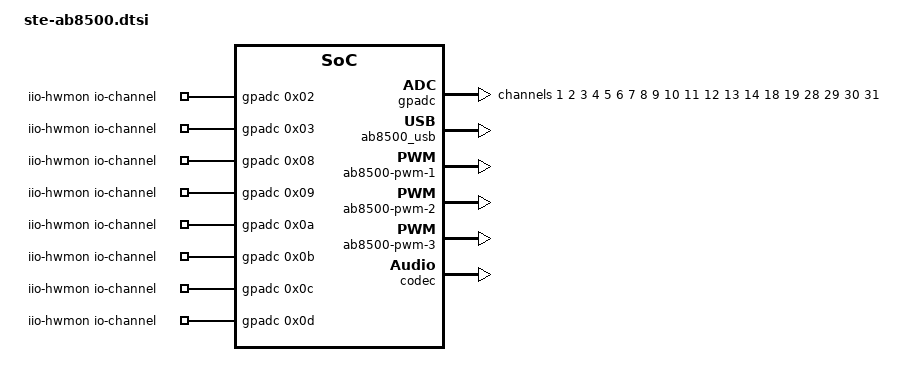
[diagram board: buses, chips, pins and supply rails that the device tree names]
// SPDX-License-Identifier: GPL-2.0-or-later
/*
 * Copyright 2012 Linaro Ltd
 */

#include <dt-bindings/clock/ste-ab8500.h>

/ {
	/* Essential housekeeping hardware monitors */
	iio-hwmon {
		compatible = "iio-hwmon";
		io-channels = <&gpadc 0x02>, /* Battery temperature */
			    <&gpadc 0x03>, /* Main charger voltage */
			    <&gpadc 0x08>, /* Main battery voltage */
			    <&gpadc 0x09>, /* VBUS */
			    <&gpadc 0x0a>, /* Main charger current */
			    <&gpadc 0x0b>, /* USB charger current */
			    <&gpadc 0x0c>, /* Backup battery voltage */
			    <&gpadc 0x0d>, /* Die temperature */
			    <&gpadc 0x12>; /* Crystal temperature */
	};

	soc {
		prcmu@80157000 {
			ab8500 {
				compatible = "stericsson,ab8500";
				interrupt-parent = <&intc>;
				interrupts = <GIC_SPI 40 IRQ_TYPE_LEVEL_HIGH>;
				interrupt-controller;
				#interrupt-cells = <2>;

				ab8500_clock: clock-controller {
					compatible = "stericsson,ab8500-clk";
					#clock-cells = <1>;
				};

				ab8500_gpio: ab8500-gpio {
					compatible = "stericsson,ab8500-gpio";
					gpio-controller;
					#gpio-cells = <2>;
				};

				ab8500-rtc {
					compatible = "stericsson,ab8500-rtc";
					interrupts = <17 IRQ_TYPE_LEVEL_HIGH
						      18 IRQ_TYPE_LEVEL_HIGH>;
					interrupt-names = "60S", "ALARM";
				};

				gpadc: ab8500-gpadc {
					compatible = "stericsson,ab8500-gpadc";
					interrupts = <32 IRQ_TYPE_LEVEL_HIGH
						      39 IRQ_TYPE_LEVEL_HIGH>;
					interrupt-names = "HW_CONV_END", "SW_CONV_END";
					vddadc-supply = <&ab8500_ldo_tvout_reg>;
					#address-cells = <1>;
					#size-cells = <0>;
					#io-channel-cells = <1>;

					/* GPADC channels */
					bat_ctrl: channel@01 {
						reg = <0x01>;
					};
					btemp_ball: channel@02 {
						reg = <0x02>;
					};
					main_charger_v: channel@03 {
						reg = <0x03>;
					};
					acc_detect1: channel@04 {
						reg = <0x04>;
					};
					acc_detect2: channel@05 {
						reg = <0x05>;
					};
					adc_aux1: channel@06 {
						reg = <0x06>;
					};
					adc_aux2: channel@07 {
						reg = <0x07>;
					};
					main_batt_v: channel@08 {
						reg = <0x08>;
					};
					vbus_v: channel@09 {
						reg = <0x09>;
					};
					main_charger_c: channel@0a {
						reg = <0x0a>;
					};
					usb_charger_c: channel@0b {
						reg = <0x0b>;
					};
					bk_bat_v: channel@0c {
						reg = <0x0c>;
					};
					die_temp: channel@0d {
						reg = <0x0d>;
					};
					usb_id: channel@0e {
						reg = <0x0e>;
					};
					xtal_temp: channel@12 {
						reg = <0x12>;
					};
					vbat_true_meas: channel@13 {
						reg = <0x13>;
					};
					bat_ctrl_and_ibat: channel@1c {
						reg = <0x1c>;
					};
					vbat_meas_and_ibat: channel@1d {
						reg = <0x1d>;
					};
					vbat_true_meas_and_ibat: channel@1e {
						reg = <0x1e>;
					};
					bat_temp_and_ibat: channel@1f {
						reg = <0x1f>;
					};
				};

				ab8500_temp {
					compatible = "stericsson,abx500-temp";
					interrupts = <3 IRQ_TYPE_LEVEL_HIGH>;
					interrupt-names = "ABX500_TEMP_WARM";
					io-channels = <&gpadc 0x06>,
						      <&gpadc 0x07>;
					io-channel-names = "aux1", "aux2";
				};

				ab8500_battery: ab8500_battery {
					stericsson,battery-type = "LIPO";
					thermistor-on-batctrl;
				};

				ab8500_fg {
					compatible = "stericsson,ab8500-fg";
					interrupts = <24 IRQ_TYPE_LEVEL_HIGH>,
						     <8 IRQ_TYPE_LEVEL_HIGH>,
						     <28 IRQ_TYPE_LEVEL_HIGH>,
						     <27 IRQ_TYPE_LEVEL_HIGH>,
						     <26 IRQ_TYPE_LEVEL_HIGH>;
					interrupt-names = "NCONV_ACCU",
							  "BATT_OVV",
							  "LOW_BAT_F",
							  "CC_INT_CALIB",
							  "CCEOC";
					battery = <&ab8500_battery>;
					io-channels = <&gpadc 0x08>;
					io-channel-names = "main_bat_v";
				};

				ab8500_btemp {
					compatible = "stericsson,ab8500-btemp";
					interrupts = <20 IRQ_TYPE_LEVEL_HIGH>,
						     <80 IRQ_TYPE_LEVEL_HIGH>,
						     <83 IRQ_TYPE_LEVEL_HIGH>,
						     <81 IRQ_TYPE_LEVEL_HIGH>,
						     <82 IRQ_TYPE_LEVEL_HIGH>;
					interrupt-names = "BAT_CTRL_INDB",
							  "BTEMP_LOW",
							  "BTEMP_HIGH",
							  "BTEMP_LOW_MEDIUM",
							  "BTEMP_MEDIUM_HIGH";
					battery = <&ab8500_battery>;
					io-channels = <&gpadc 0x02>,
						      <&gpadc 0x01>;
					io-channel-names = "btemp_ball",
							"bat_ctrl";
				};

				ab8500_charger {
					compatible = "stericsson,ab8500-charger";
					interrupts = <10 IRQ_TYPE_LEVEL_HIGH>,
						     <11 IRQ_TYPE_LEVEL_HIGH>,
						     <0 IRQ_TYPE_LEVEL_HIGH>,
						     <107 IRQ_TYPE_LEVEL_HIGH>,
						     <106 IRQ_TYPE_LEVEL_HIGH>,
						     <14 IRQ_TYPE_LEVEL_HIGH>,
						     <15 IRQ_TYPE_LEVEL_HIGH>,
						     <79 IRQ_TYPE_LEVEL_HIGH>,
						     <105 IRQ_TYPE_LEVEL_HIGH>,
						     <104 IRQ_TYPE_LEVEL_HIGH>,
						     <89 IRQ_TYPE_LEVEL_HIGH>,
						     <22 IRQ_TYPE_LEVEL_HIGH>,
						     <21 IRQ_TYPE_LEVEL_HIGH>,
						     <16 IRQ_TYPE_LEVEL_HIGH>;
					interrupt-names = "MAIN_CH_UNPLUG_DET",
							  "MAIN_CHARGE_PLUG_DET",
							  "MAIN_EXT_CH_NOT_OK",
							  "MAIN_CH_TH_PROT_R",
							  "MAIN_CH_TH_PROT_F",
							  "VBUS_DET_F",
							  "VBUS_DET_R",
							  "USB_LINK_STATUS",
							  "USB_CH_TH_PROT_R",
							  "USB_CH_TH_PROT_F",
							  "USB_CHARGER_NOT_OKR",
							  "VBUS_OVV",
							  "CH_WD_EXP",
							  "VBUS_CH_DROP_END";
					battery		= <&ab8500_battery>;
					vddadc-supply	= <&ab8500_ldo_tvout_reg>;
					io-channels = <&gpadc 0x03>,
						      <&gpadc 0x0a>,
						      <&gpadc 0x09>,
						      <&gpadc 0x0b>;
					io-channel-names = "main_charger_v",
							"main_charger_c",
							"vbus_v",
							"usb_charger_c";
				};

				ab8500_chargalg {
					compatible	= "stericsson,ab8500-chargalg";
					battery		= <&ab8500_battery>;
				};

				ab8500_usb {
					compatible = "stericsson,ab8500-usb";
					interrupts = < 90 IRQ_TYPE_LEVEL_HIGH
						       96 IRQ_TYPE_LEVEL_HIGH
						       14 IRQ_TYPE_LEVEL_HIGH
						       15 IRQ_TYPE_LEVEL_HIGH
						       79 IRQ_TYPE_LEVEL_HIGH
						       74 IRQ_TYPE_LEVEL_HIGH
						       75 IRQ_TYPE_LEVEL_HIGH>;
					interrupt-names = "ID_WAKEUP_R",
							  "ID_WAKEUP_F",
							  "VBUS_DET_F",
							  "VBUS_DET_R",
							  "USB_LINK_STATUS",
							  "USB_ADP_PROBE_PLUG",
							  "USB_ADP_PROBE_UNPLUG";
					vddulpivio18-supply = <&ab8500_ldo_intcore_reg>;
					v-ape-supply = <&db8500_vape_reg>;
					musb_1v8-supply = <&db8500_vsmps2_reg>;
					clocks = <&prcmu_clk PRCMU_SYSCLK>;
					clock-names = "sysclk";
				};

				ab8500-ponkey {
					compatible = "stericsson,ab8500-poweron-key";
					interrupts = <6 IRQ_TYPE_LEVEL_HIGH
						      7 IRQ_TYPE_LEVEL_HIGH>;
					interrupt-names = "ONKEY_DBF", "ONKEY_DBR";
				};

				ab8500-sysctrl {
					compatible = "stericsson,ab8500-sysctrl";
				};

				ab8500-pwm-1 {
					compatible = "stericsson,ab8500-pwm";
					clocks = <&ab8500_clock AB8500_SYSCLK_INT>;
					clock-names = "intclk";
				};

				ab8500-pwm-2 {
					compatible = "stericsson,ab8500-pwm";
					clocks = <&ab8500_clock AB8500_SYSCLK_INT>;
					clock-names = "intclk";
				};

				ab8500-pwm-3 {
					compatible = "stericsson,ab8500-pwm";
					clocks = <&ab8500_clock AB8500_SYSCLK_INT>;
					clock-names = "intclk";
				};

				ab8500-debugfs {
					compatible = "stericsson,ab8500-debug";
				};

				codec: ab8500-codec {
					compatible = "stericsson,ab8500-codec";

					V-AUD-supply = <&ab8500_ldo_audio_reg>;
					V-AMIC1-supply = <&ab8500_ldo_anamic1_reg>;
					V-AMIC2-supply = <&ab8500_ldo_anamic2_reg>;
					V-DMIC-supply = <&ab8500_ldo_dmic_reg>;

					clocks = <&ab8500_clock AB8500_SYSCLK_AUDIO>;
					clock-names = "audioclk";

					stericsson,earpeice-cmv = <950>; /* Units in mV. */
				};

				ext_regulators: ab8500-ext-regulators {
					compatible = "stericsson,ab8500-ext-regulator";

					ab8500_ext1_reg: ab8500_ext1 {
						regulator-min-microvolt = <1800000>;
						regulator-max-microvolt = <1800000>;
						regulator-boot-on;
						regulator-always-on;
					};

					ab8500_ext2_reg: ab8500_ext2 {
						regulator-min-microvolt = <1360000>;
						regulator-max-microvolt = <1360000>;
						regulator-boot-on;
						regulator-always-on;
					};

					ab8500_ext3_reg: ab8500_ext3 {
						regulator-min-microvolt = <3400000>;
						regulator-max-microvolt = <3400000>;
						regulator-boot-on;
					};
				};

				ab8500-regulators {
					compatible = "stericsson,ab8500-regulator";
					vin-supply = <&ab8500_ext3_reg>;

					// supplies to the display/camera
					ab8500_ldo_aux1_reg: ab8500_ldo_aux1 {
						regulator-min-microvolt = <2800000>;
						regulator-max-microvolt = <3300000>;
						regulator-boot-on;
						/* BUG: If turned off MMC will be affected. */
						regulator-always-on;
					};

					// supplies to the on-board eMMC
					ab8500_ldo_aux2_reg: ab8500_ldo_aux2 {
						regulator-min-microvolt = <1100000>;
						regulator-max-microvolt = <3300000>;
					};

					// supply for VAUX3; SDcard slots
					ab8500_ldo_aux3_reg: ab8500_ldo_aux3 {
						regulator-min-microvolt = <1100000>;
						regulator-max-microvolt = <3300000>;
					};

					// supply for v-intcore12; VINTCORE12 LDO
					ab8500_ldo_intcore_reg: ab8500_ldo_intcore {
					};

					// supply for tvout; gpadc; TVOUT LDO
					ab8500_ldo_tvout_reg: ab8500_ldo_tvout {
					};

					// supply for ab8500-vaudio; VAUDIO LDO
					ab8500_ldo_audio_reg: ab8500_ldo_audio {
					};

					// supply for v-anamic1 VAMIC1 LDO
					ab8500_ldo_anamic1_reg: ab8500_ldo_anamic1 {
					};

					// supply for v-amic2; VAMIC2 LDO; reuse constants for AMIC1
					ab8500_ldo_anamic2_reg: ab8500_ldo_anamic2 {
					};

					// supply for v-dmic; VDMIC LDO
					ab8500_ldo_dmic_reg: ab8500_ldo_dmic {
					};

					// supply for U8500 CSI/DSI; VANA LDO
					ab8500_ldo_ana_reg: ab8500_ldo_ana {
					};
				};
			};
		};

		sound {
			stericsson,audio-codec = <&codec>;
			clocks = <&prcmu_clk PRCMU_SYSCLK>, <&ab8500_clock AB8500_SYSCLK_ULP>, <&ab8500_clock AB8500_SYSCLK_INT>;
			clock-names = "sysclk", "ulpclk", "intclk";
		};

		mcde@a0350000 {
			vana-supply = <&ab8500_ldo_ana_reg>;

			dsi@a0351000 {
				vana-supply = <&ab8500_ldo_ana_reg>;
			};
			dsi@a0352000 {
				vana-supply = <&ab8500_ldo_ana_reg>;
			};
			dsi@a0353000 {
				vana-supply = <&ab8500_ldo_ana_reg>;
			};
		};
	};
};
